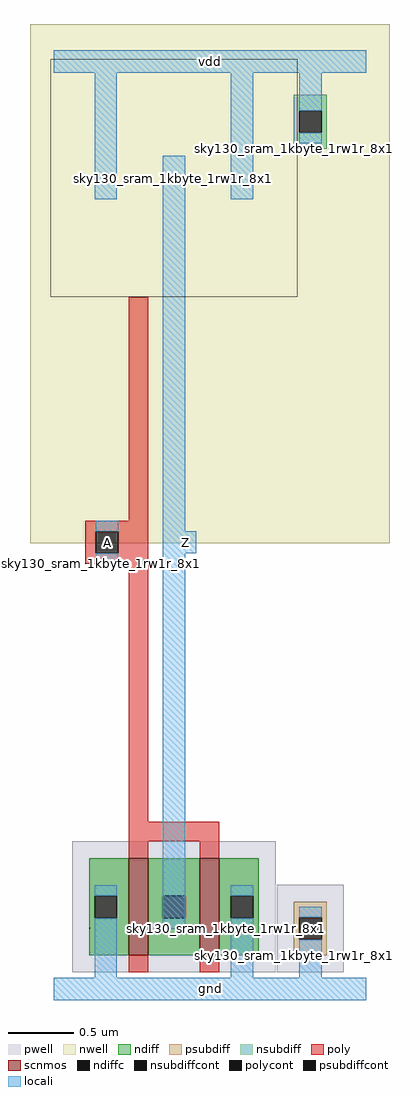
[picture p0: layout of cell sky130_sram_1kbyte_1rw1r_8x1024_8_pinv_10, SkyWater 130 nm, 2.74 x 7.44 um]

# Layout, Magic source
magic
tech sky130A
magscale 1 2
<< nwell >>
rect -36 679 512 1471
<< pwell >>
rect 340 25 442 159
<< psubdiff >>
rect 366 109 416 133
rect 366 75 374 109
rect 408 75 416 109
rect 366 51 416 75
<< nsubdiff >>
rect 366 1339 416 1363
rect 366 1305 374 1339
rect 408 1305 416 1339
rect 366 1281 416 1305
<< psubdiffcont >>
rect 374 75 408 109
<< nsubdiffcont >>
rect 374 1305 408 1339
<< poly >>
rect 114 714 144 1055
rect 48 698 144 714
rect 48 664 64 698
rect 98 664 144 698
rect 48 648 144 664
rect 114 255 144 648
<< polycont >>
rect 64 664 98 698
<< locali >>
rect 0 1397 476 1431
rect 62 1204 96 1397
rect 64 698 98 714
rect 64 648 98 664
rect 166 698 200 1270
rect 270 1204 304 1397
rect 374 1339 408 1397
rect 374 1289 408 1305
rect 166 664 217 698
rect 166 92 200 664
rect 374 109 408 125
rect 62 17 96 92
rect 270 17 304 92
rect 374 17 408 75
rect 0 -17 476 17
use sky130_sram_1kbyte_1rw1r_8x1024_8_contact_16  sky130_sram_1kbyte_1rw1r_8x1024_8_contact_16_0
transform 1 0 48 0 1 648
box 0 0 1 1
use sky130_sram_1kbyte_1rw1r_8x1024_8_contact_29  sky130_sram_1kbyte_1rw1r_8x1024_8_contact_29_0
transform 1 0 366 0 1 51
box 0 0 1 1
use sky130_sram_1kbyte_1rw1r_8x1024_8_contact_28  sky130_sram_1kbyte_1rw1r_8x1024_8_contact_28_0
transform 1 0 366 0 1 1281
box 0 0 1 1
use sky130_sram_1kbyte_1rw1r_8x1024_8_nmos_m2_w0_740_sli_dli_da_p  sky130_sram_1kbyte_1rw1r_8x1024_8_nmos_m2_w0_740_sli_dli_da_p_0
transform 1 0 54 0 1 51
box -26 -26 284 204
use sky130_sram_1kbyte_1rw1r_8x1024_8_pmos_m2_w1_260_sli_dli_da_p  sky130_sram_1kbyte_1rw1r_8x1024_8_pmos_m2_w1_260_sli_dli_da_p_0
transform 1 0 54 0 1 1111
box -59 -56 317 306
<< labels >>
rlabel locali s 81 681 81 681 4 A
port 1 nsew
rlabel locali s 200 681 200 681 4 Z
port 2 nsew
rlabel locali s 238 0 238 0 4 gnd
port 3 nsew
rlabel locali s 238 1414 238 1414 4 vdd
port 4 nsew
<< properties >>
string FIXED_BBOX 0 0 476 1414
string GDS_FILE $PDKPATH/libs.ref/sky130_sram_macros/gds/sky130_sram_1kbyte_1rw1r_8x1024_8.gds
string GDS_END 333126
string GDS_START 331128
<< end >>

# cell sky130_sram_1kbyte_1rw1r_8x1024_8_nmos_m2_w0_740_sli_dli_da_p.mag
magic
tech sky130A
magscale 1 2
<< pwell >>
rect -26 -26 284 174
<< scnmos >>
rect 60 0 90 148
rect 168 0 198 148
<< ndiff >>
rect 0 91 60 148
rect 0 57 8 91
rect 42 57 60 91
rect 0 0 60 57
rect 90 91 168 148
rect 90 57 112 91
rect 146 57 168 91
rect 90 0 168 57
rect 198 91 258 148
rect 198 57 216 91
rect 250 57 258 91
rect 198 0 258 57
<< ndiffc >>
rect 8 57 42 91
rect 112 57 146 91
rect 216 57 250 91
<< poly >>
rect 60 174 198 204
rect 60 148 90 174
rect 168 148 198 174
rect 60 -26 90 0
rect 168 -26 198 0
<< locali >>
rect 8 91 42 107
rect 8 41 42 57
rect 112 91 146 107
rect 112 41 146 57
rect 216 91 250 107
rect 216 41 250 57
use sky130_sram_1kbyte_1rw1r_8x1024_8_contact_11  sky130_sram_1kbyte_1rw1r_8x1024_8_contact_11_0
transform 1 0 208 0 1 41
box 0 0 1 1
use sky130_sram_1kbyte_1rw1r_8x1024_8_contact_11  sky130_sram_1kbyte_1rw1r_8x1024_8_contact_11_1
transform 1 0 104 0 1 41
box 0 0 1 1
use sky130_sram_1kbyte_1rw1r_8x1024_8_contact_11  sky130_sram_1kbyte_1rw1r_8x1024_8_contact_11_2
transform 1 0 0 0 1 41
box 0 0 1 1
<< labels >>
rlabel locali s 25 74 25 74 4 S
port 1 nsew
rlabel locali s 233 74 233 74 4 S
port 1 nsew
rlabel locali s 129 74 129 74 4 D
port 2 nsew
rlabel poly s 129 189 129 189 4 G
port 3 nsew
<< properties >>
string FIXED_BBOX -25 -26 283 204
string GDS_FILE $PDKPATH/libs.ref/sky130_sram_macros/gds/sky130_sram_1kbyte_1rw1r_8x1024_8.gds
string GDS_END 5496
string GDS_START 4454
<< end >>
